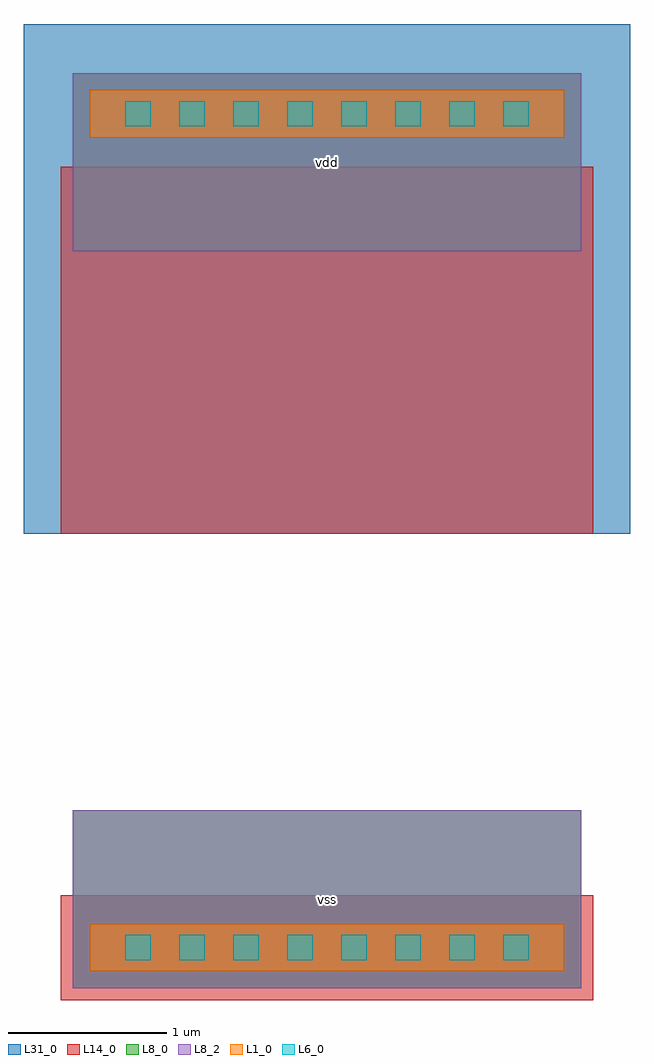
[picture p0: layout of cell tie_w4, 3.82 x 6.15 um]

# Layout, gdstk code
import gdstk
lib = gdstk.Library(unit=1e-6, precision=1e-09)
def R(c, l, rs):  # rectangles x0, y0, x1, y1
    for r in rs: c.add(gdstk.rectangle(r[:2], r[2:], *l))
def A(c, l, x, y, w, h, nx, ny, dx, dy):  # array of equal rectangles
    R(c, l, [(x+i*dx, y+j*dy, x+i*dx+w, y+j*dy+h) for i in range(nx) for j in range(ny)])
L1_0 = (1, 0)
L6_0 = (6, 0)
L8_0 = (8, 0)
L8_2 = (8, 2)
L14_0 = (14, 0)
L31_0 = (31, 0)

tie_w4 = lib.new_cell('tie_w4')
R(tie_w4, L1_0, [(0.105,0.105,3.095,0.405), (0.105,5.355,3.095,5.655)])
A(tie_w4, L6_0, 0.33, 0.175, 0.16, 0.16, 8, 2, 0.34, 5.25)
R(tie_w4, L8_0, [(0,0,3.2,1.12), (0,4.64,3.2,5.76)])
R(tie_w4, L8_2, [(0,0,3.2,1.12), (0,4.64,3.2,5.76)])
R(tie_w4, L14_0, [(-0.075,-0.075,3.275,0.585), (-0.075,2.86,3.275,5.17)])
R(tie_w4, L31_0, [(-0.31,2.86,3.51,6.07)])
tie_w4.add(gdstk.Label('vdd', (1.6,5.2), layer=8, texttype=2))
tie_w4.add(gdstk.Label('vss', (1.6,0.56), layer=8, texttype=2))

lib.write_gds('tie_w4.gds')
